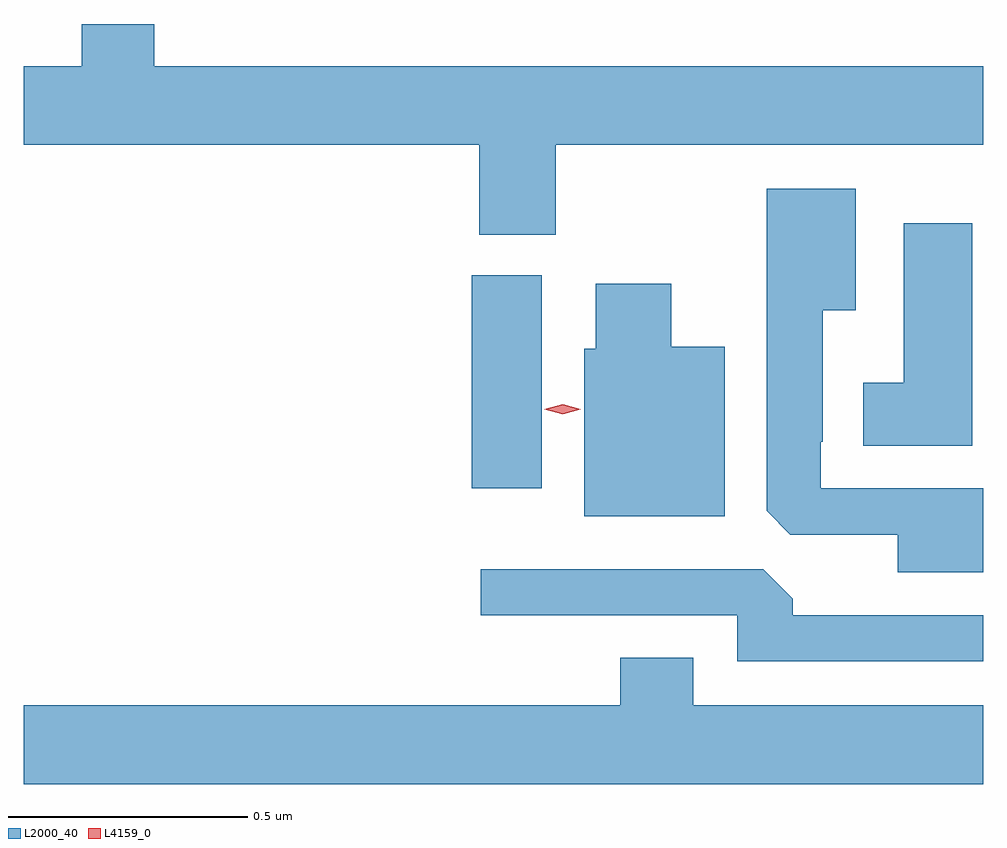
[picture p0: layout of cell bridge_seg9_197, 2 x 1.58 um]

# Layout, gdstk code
import gdstk
lib = gdstk.Library(unit=1e-6, precision=1e-09)
def R(c, l, rs):  # rectangles x0, y0, x1, y1
    for r in rs: c.add(gdstk.rectangle(r[:2], r[2:], *l))
def P(c, l, *ps):  # polygons
    for p in ps: c.add(gdstk.Polygon(p, *l))
L2000_40 = (2000, 40)
L4159_0 = (4159, 0)

bridge_seg9_197 = lib.new_cell('bridge_seg9_197')
R(bridge_seg9_197, L2000_40, [(172.898,1227.672,173.044,1228.116)])
P(bridge_seg9_197, L2000_40, [(173.073,1228.388),(173.964,1228.388),(173.964,1228.552),(172.236,1228.552),(172.236,1228.64),(172.085,1228.64),(172.085,1228.552),(171.964,1228.552),(171.964,1228.388),(172.913,1228.388),(172.913,1228.201),(173.073,1228.201)],
  [(173.964,1227.672),(173.625,1227.672),(173.625,1227.769),(173.629,1227.769),(173.629,1228.043),(173.698,1228.043),(173.698,1228.297),(173.513,1228.297),(173.513,1227.625),(173.562,1227.576),(173.786,1227.576),(173.786,1227.497),(173.964,1227.497)],
  [(173.941,1228.225),(173.798,1228.225),(173.798,1227.892),(173.714,1227.892),(173.714,1227.761),(173.941,1227.761)],
  [(173.425,1227.967),(173.314,1227.967),(173.314,1228.099),(173.156,1228.099),(173.156,1227.963),(173.132,1227.963),(173.132,1227.614),(173.425,1227.614)],
  [(173.964,1227.408),(173.567,1227.408),(173.567,1227.442),(173.505,1227.504),(172.917,1227.504),(172.917,1227.408),(173.451,1227.408),(173.451,1227.312),(173.964,1227.312)],
  [(173.964,1227.22),(173.359,1227.22),(173.359,1227.319),(173.207,1227.319),(173.207,1227.22),(171.964,1227.22),(171.964,1227.056),(173.964,1227.056)])
P(bridge_seg9_197, L4159_0, [(173.087,1227.827),(173.049,1227.837),(173.048,1227.837),(173.049,1227.837),(173.087,1227.847),(173.125,1227.837),(173.125,1227.837),(173.125,1227.837)])

lib.write_gds('bridge_seg9_197.gds')
